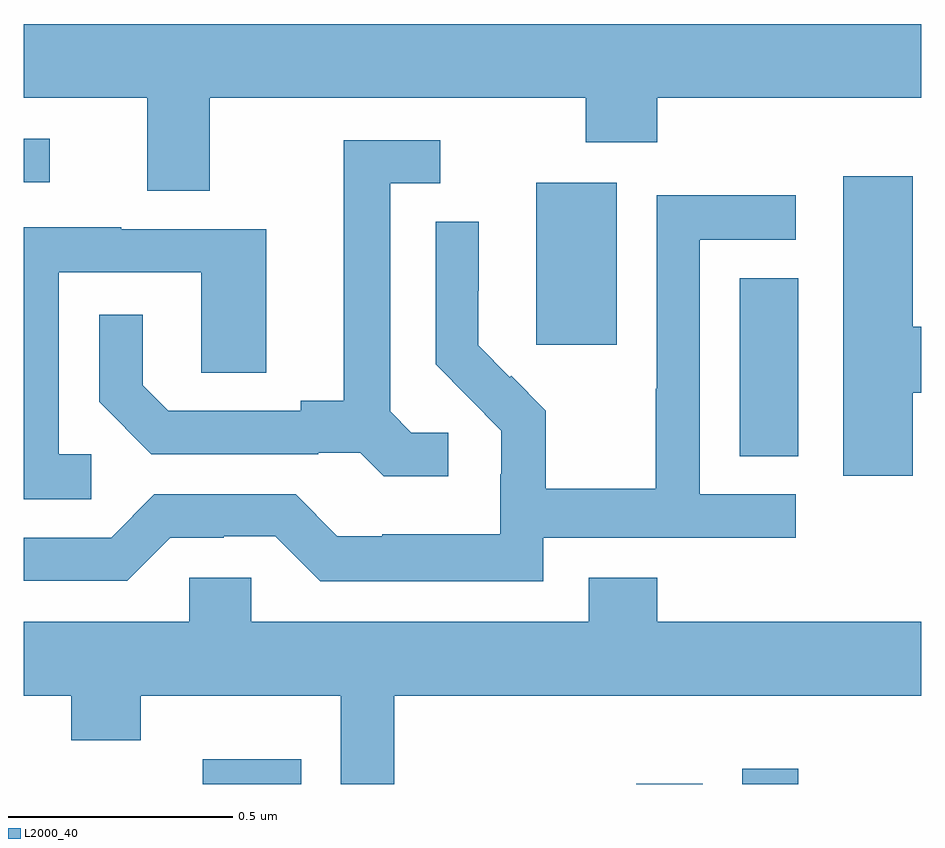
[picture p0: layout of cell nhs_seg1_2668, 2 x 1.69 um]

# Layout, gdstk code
import gdstk
lib = gdstk.Library(unit=1e-6, precision=1e-09)
def R(c, l, rs):  # rectangles x0, y0, x1, y1
    for r in rs: c.add(gdstk.rectangle(r[:2], r[2:], *l))
def P(c, l, *ps):  # polygons
    for p in ps: c.add(gdstk.Polygon(p, *l))
L2000_40 = (2000, 40)

nhs_seg1_2668 = lib.new_cell('nhs_seg1_2668')
R(nhs_seg1_2668, L2000_40, [(144.399,554.199,144.618,554.254), (145.365,554.199,145.513,554.2), (145.601,554.199,145.726,554.233), (145.595,554.929,145.726,555.326), (145.142,555.177,145.321,555.538), (144,555.54,144.058,555.636)])
P(nhs_seg1_2668, L2000_40, [(144.415,555.728),(145.252,555.728),(145.252,555.629),(145.412,555.629),(145.412,555.728),(146,555.728),(146,555.892),(144,555.892),(144,555.728),(144.275,555.728),(144.275,555.52),(144.415,555.52)],
  [(144.946,554.982),(144.864,554.982),(144.817,555.029),(144.817,555.537),(144.928,555.537),(144.928,555.633),(144.713,555.633),(144.713,555.053),(144.617,555.053),(144.617,555.03),(144.322,555.03),(144.265,555.087),(144.265,555.244),(144.168,555.244),(144.168,555.05),(144.284,554.934),(144.656,554.934),(144.656,554.937),(144.75,554.937),(144.802,554.885),(144.946,554.885)],
  [(145.981,555.071),(146,555.071),(146,555.218),(145.981,555.218),(145.981,555.553),(145.826,555.553),(145.826,554.886),(145.981,554.886)],
  [(145.158,554.748),(145.72,554.748),(145.72,554.844),(145.506,554.844),(145.506,555.411),(145.72,555.411),(145.72,555.51),(145.41,555.51),(145.41,555.08),(145.408,555.08),(145.408,554.857),(145.163,554.857),(145.163,555.031),(145.086,555.108),(145.083,555.105),(145.013,555.176),(145.013,555.298),(145.014,555.298),(145.014,555.452),(144.918,555.452),(144.918,555.134),(144.991,555.061),(144.99,555.06),(145.064,554.986),(145.064,554.889),(145.062,554.889),(145.062,554.755),(144.799,554.755),(144.799,554.751),(144.699,554.751),(144.606,554.844),(144.291,554.844),(144.195,554.748),(144,554.748),(144,554.652),(144.231,554.652),(144.327,554.748),(144.446,554.748),(144.446,554.751),(144.561,554.751),(144.661,554.651),(145.158,554.651)],
  [(144.151,554.934),(144.078,554.934),(144.078,555.339),(144.396,555.339),(144.396,555.115),(144.541,555.115),(144.541,555.435),(144.217,555.435),(144.217,555.439),(144,555.439),(144,554.833),(144.151,554.833)],
  [(144.826,554.396),(146,554.396),(146,554.56),(145.412,554.56),(145.412,554.659),(145.259,554.659),(145.259,554.56),(144.507,554.56),(144.507,554.658),(144.369,554.658),(144.369,554.56),(144,554.56),(144,554.396),(144.106,554.396),(144.106,554.297),(144.261,554.297),(144.261,554.396),(144.707,554.396),(144.707,554.199),(144.826,554.199)])

lib.write_gds('nhs_seg1_2668.gds')
